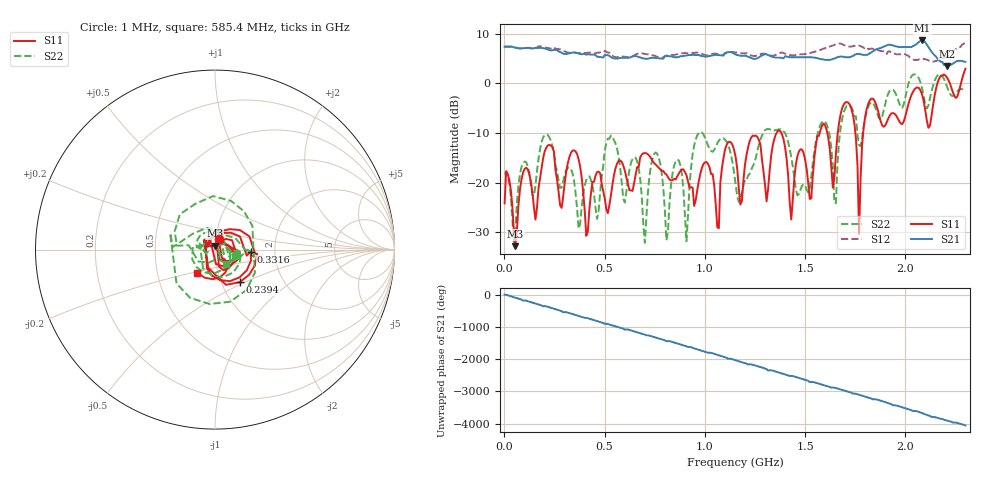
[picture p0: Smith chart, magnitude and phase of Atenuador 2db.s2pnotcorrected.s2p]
# Hz S DB R 50.000000
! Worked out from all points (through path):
!   300 points, 1 MHz to 2.3 GHz, reference 50 ohm
!   highest |S21| = 8.67 dB at 2.085 GHz (marker M1); lowest = 3.5 dB at 2.208 GHz (marker M2)
!   lowest |S11| = -32.8 dB at 54.82 MHz (marker M3), VSWR 1.05, Z = 49.8 + j2.27 ohm
!   |S11| at or under -10 dB: start of sweep to 1.358 GHz; 1.382 GHz to 1.573 GHz (191.5 MHz wide, 13 % of centre); 1.611 GHz to 1.663 GHz (52.31 MHz wide, 3.2 % of centre) (the widest 3 of 4)
!   |S22| runs from -32.2 to 1.8 dB; largest |S21 - S12| = 4.5
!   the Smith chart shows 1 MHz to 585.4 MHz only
!   S11 on the Smith chart (normalised r, x): 1 MHz: 1.04, +0.12; 239.4 MHz: 1.22, -0.47; 331.6 MHz: 1.49, -0.03; 585.4 MHz: 0.80, -0.21
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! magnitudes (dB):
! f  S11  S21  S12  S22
! 1 MHz  -24.2  7.4  7.3  -18.4
! 54.82 MHz  -32.8  7.2  7.2  -30.1
! 239.4 MHz  -12.8  6.7  7.1  -12.6
! 331.6 MHz  -14.0  6.1  6.2  -17.2
! 385.4 MHz  -18.9  5.9  6.1  -25.0
! 585.4 MHz  -15.8  5.2  5.4  -20.0
! 700.7 MHz  -14.0  5.0  5.9  -32.2
! 769.9 MHz  -17.0  5.1  5.3  -14.9
! 808.3 MHz  -18.4  5.5  5.6  -31.7
! 862.2 MHz  -18.8  5.3  5.9  -15.3
! 908.3 MHz  -18.5  5.6  6.1  -31.9
! 969.8 MHz  -19.7  5.7  6.2  -10.0
! 1.154 GHz  -15.0  5.8  6.2  -20.6
! 1.539 GHz  -18.6  5.2  6.3  -16.1
! 1.654 GHz  -14.0  5.1  7.9  -24.2
! 1.716 GHz  -3.9  5.3  7.4  -4.4
! 1.769 GHz  -30.4  5.9  7.6  -12.4
! 1.808 GHz  -5.1  5.7  7.0  -5.6
! 1.923 GHz  -6.5  7.8  6.4  -1.4
! 2.085 GHz  -2.4  8.7  5.0  -1.2
! 2.208 GHz  1.2  3.5  5.5  -0.6
! 2.3 GHz  3.0  4.4  8.2  -1.4
